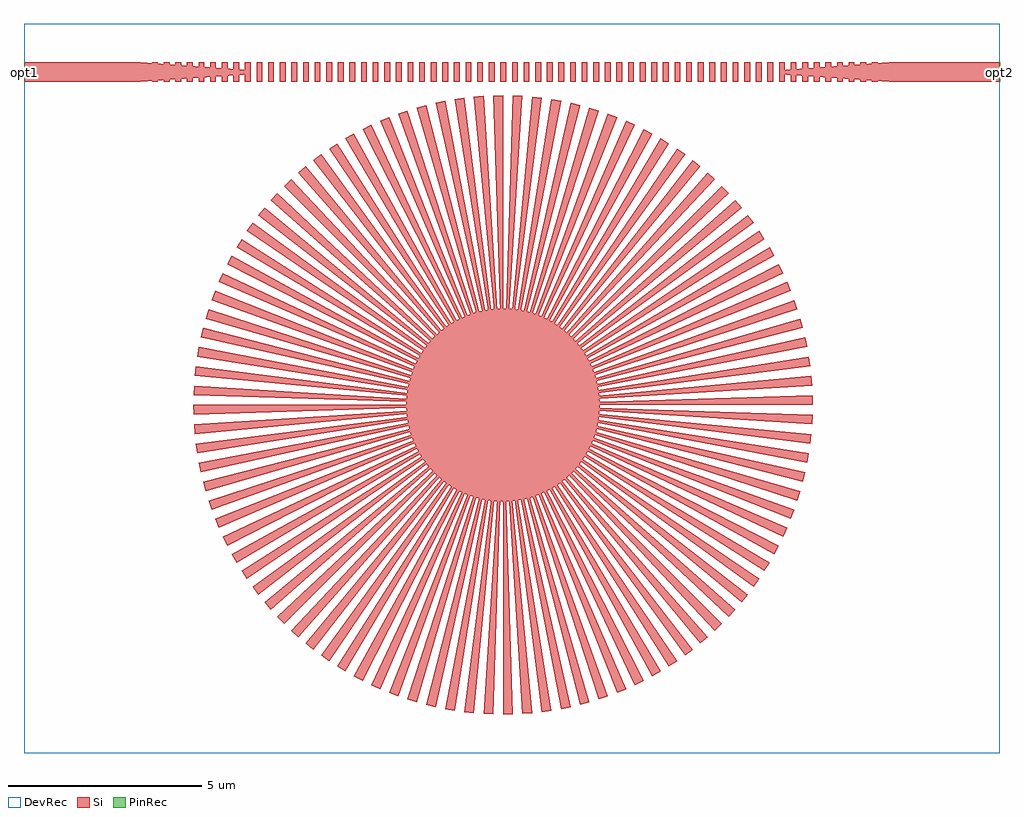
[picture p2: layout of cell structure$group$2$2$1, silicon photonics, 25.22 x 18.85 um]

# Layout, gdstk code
import gdstk
lib = gdstk.Library(unit=1e-6, precision=1e-09)
def R(c, l, rs):  # rectangles x0, y0, x1, y1
    for r in rs: c.add(gdstk.rectangle(r[:2], r[2:], *l))
def A(c, l, x, y, w, h, nx, ny, dx, dy):  # array of equal rectangles
    R(c, l, [(x+i*dx, y+j*dy, x+i*dx+w, y+j*dy+h) for i in range(nx) for j in range(ny)])
def P(c, l, *ps):  # polygons
    for p in ps: c.add(gdstk.Polygon(p, *l))
Si = (1, 0)
PinRec = (1, 10)
DevRec = (68, 0)

swg_ring_1_2_1 = lib.new_cell('swg_ring$1$2$1')
P(swg_ring_1_2_1, Si, [(-0.006,-2.5),(-0.251,-2.487),(-0.493,-2.451),(-0.731,-2.391),(-0.962,-2.308),(-1.183,-2.202),(-1.393,-2.076),(-1.59,-1.929),(-1.771,-1.764),(-1.936,-1.582),(-2.081,-1.385),(-2.207,-1.174),(-2.311,-0.953),(-2.394,-0.722),(-2.453,-0.484),(-2.488,-0.241),(-2.5,0.004),(-2.488,0.249),(-2.451,0.491),(-2.391,0.729),(-2.308,0.96),(-2.203,1.181),(-2.077,1.392),(-1.931,1.588),(-1.766,1.77),(-1.584,1.934),(-1.387,2.08),(-1.176,2.206),(-0.954,2.311),(-0.723,2.393),(-0.486,2.452),(-0.243,2.488),(0.002,2.5),(0.247,2.488),(0.489,2.452),(0.727,2.392),(0.958,2.309),(1.18,2.204),(1.39,2.078),(1.587,1.932),(1.768,1.767),(1.933,1.585),(2.079,1.388),(2.205,1.178),(2.31,0.956),(2.392,0.725),(2.452,0.487),(2.488,0.245),(2.5,0),(2.487,-0.253),(2.45,-0.495),(2.39,-0.733),(2.307,-0.964),(2.201,-1.185),(2.075,-1.395),(1.928,-1.591),(1.763,-1.773),(1.581,-1.937),(1.383,-2.082),(1.173,-2.208),(0.951,-2.312),(0.72,-2.394),(0.482,-2.453),(0.239,-2.489)],
  [(0.124,0.38),(0.112,0.384),(2.232,7.682),(2.472,7.608)],
  [(0.292,0.274),(0.283,0.283),(5.657,5.657),(5.832,5.476)],
  [(0.274,0.292),(0.265,0.3),(5.29,6.001),(5.476,5.832)],
  [(0.372,0.147),(0.367,0.159),(7.342,3.177),(7.438,2.945)],
  [(0.214,0.338),(0.204,0.344),(4.072,6.886),(4.287,6.755)],
  [(0.399,0.025),(0.398,0.038),(7.964,0.753),(7.984,0.502)],
  [(0.338,0.214),(0.331,0.225),(6.617,4.497),(6.755,4.287)],
  [(0.075,0.393),(0.063,0.395),(1.251,7.902),(1.499,7.858)],
  [(0.255,0.308),(0.245,0.316),(4.903,6.321),(5.099,6.164)],
  [(0.387,0.099),(0.384,0.112),(7.682,2.232),(7.749,1.99)],
  [(0.308,0.255),(0.3,0.265),(6.001,5.29),(6.164,5.099)],
  [(0.351,0.193),(0.344,0.204),(6.886,4.072),(7.01,3.854)],
  [(0.025,0.399),(0.013,0.4),(0.251,7.996),(0.502,7.984)],
  [(0.393,0.075),(0.39,0.087),(7.807,1.745),(7.858,1.499)],
  [(0.099,0.387),(0.087,0.39),(1.745,7.807),(1.99,7.749)],
  [(0.397,0.05),(0.395,0.063),(7.902,1.251),(7.937,1.003)],
  [(0.05,0.397),(0.038,0.398),(0.753,7.964),(1.003,7.937)],
  [(0.193,0.351),(0.182,0.356),(3.632,7.128),(3.854,7.01)],
  [(0.38,0.124),(0.376,0.135),(7.527,2.71),(7.608,2.472)],
  [(0.235,0.324),(0.225,0.331),(4.497,6.617),(4.702,6.472)],
  [(0.147,0.372),(0.135,0.376),(2.71,7.527),(2.945,7.438)],
  [(0.4,0),(0.4,0.013),(7.996,0.251),(8,0)],
  [(0.324,0.235),(0.316,0.245),(6.321,4.903),(6.472,4.702)],
  [(0.17,0.362),(0.159,0.367),(3.177,7.342),(3.406,7.239)],
  [(0.362,0.17),(0.356,0.182),(7.128,3.632),(7.239,3.406)],
  [(-0.384,0.112),(-7.682,2.232),(-7.608,2.472),(-0.38,0.124)],
  [(-0.087,0.39),(-1.745,7.807),(-1.499,7.858),(-0.075,0.393)],
  [(-0.376,0.135),(-7.527,2.71),(-7.438,2.945),(-0.372,0.147)],
  [(-0.395,0.063),(-7.902,1.251),(-7.858,1.499),(-0.393,0.075)],
  [(-0.316,0.245),(-6.321,4.903),(-6.164,5.099),(-0.308,0.255)],
  [(-0.225,0.331),(-4.497,6.617),(-4.287,6.755),(-0.214,0.338)],
  [(-0.063,0.395),(-1.251,7.902),(-1.003,7.937),(-0.05,0.397)],
  [(-0.245,0.316),(-4.903,6.321),(-4.702,6.472),(-0.235,0.324)],
  [(-0.4,0.013),(-7.996,0.251),(-7.984,0.502),(-0.399,0.025)],
  [(-0.013,0.4),(-0.251,7.996),(0,8),(0,0.4)],
  [(-0.39,0.087),(-7.807,1.745),(-7.749,1.99),(-0.387,0.099)],
  [(-0.159,0.367),(-3.177,7.342),(-2.945,7.438),(-0.147,0.372)],
  [(-0.038,0.398),(-0.753,7.964),(-0.502,7.984),(-0.025,0.399)],
  [(-0.265,0.3),(-5.29,6.001),(-5.099,6.164),(-0.255,0.308)],
  [(-0.204,0.344),(-4.072,6.886),(-3.854,7.01),(-0.193,0.351)],
  [(-0.283,0.283),(-5.657,5.657),(-5.476,5.832),(-0.274,0.292)],
  [(-0.112,0.384),(-2.232,7.682),(-1.99,7.749),(-0.099,0.387)],
  [(-0.135,0.376),(-2.71,7.527),(-2.472,7.608),(-0.124,0.38)],
  [(-0.344,0.204),(-6.886,4.072),(-6.755,4.287),(-0.338,0.214)],
  [(-0.398,0.038),(-7.964,0.753),(-7.937,1.003),(-0.397,0.05)],
  [(-0.3,0.265),(-6.001,5.29),(-5.832,5.476),(-0.292,0.274)],
  [(-0.331,0.225),(-6.617,4.497),(-6.472,4.702),(-0.324,0.235)],
  [(-0.182,0.356),(-3.632,7.128),(-3.406,7.239),(-0.17,0.362)],
  [(-0.356,0.182),(-7.128,3.632),(-7.01,3.854),(-0.351,0.193)],
  [(-0.367,0.159),(-7.342,3.177),(-7.239,3.406),(-0.362,0.17)],
  [(-6.321,-4.903),(-6.472,-4.702),(-0.324,-0.235),(-0.316,-0.245)],
  [(-4.903,-6.321),(-5.099,-6.164),(-0.255,-0.308),(-0.245,-0.316)],
  [(-3.632,-7.128),(-3.854,-7.01),(-0.193,-0.351),(-0.182,-0.356)],
  [(-5.29,-6.001),(-5.476,-5.832),(-0.274,-0.292),(-0.265,-0.3)],
  [(-6.886,-4.072),(-7.01,-3.854),(-0.351,-0.193),(-0.344,-0.204)],
  [(-4.072,-6.886),(-4.287,-6.755),(-0.214,-0.338),(-0.204,-0.344)],
  [(-7.807,-1.745),(-7.858,-1.499),(-0.393,-0.075),(-0.39,-0.087)],
  [(-4.497,-6.617),(-4.702,-6.472),(-0.235,-0.324),(-0.225,-0.331)],
  [(-7.902,-1.251),(-7.937,-1.003),(-0.397,-0.05),(-0.395,-0.063)],
  [(-7.128,-3.632),(-7.239,-3.406),(-0.362,-0.17),(-0.356,-0.182)],
  [(-6.001,-5.29),(-6.164,-5.099),(-0.308,-0.255),(-0.3,-0.265)],
  [(-2.232,-7.682),(-2.472,-7.608),(-0.124,-0.38),(-0.112,-0.384)],
  [(-7.342,-3.177),(-7.438,-2.945),(-0.372,-0.147),(-0.367,-0.159)],
  [(-7.682,-2.232),(-7.749,-1.99),(-0.387,-0.099),(-0.384,-0.112)],
  [(-2.71,-7.527),(-2.945,-7.438),(-0.147,-0.372),(-0.135,-0.376)],
  [(-7.527,-2.71),(-7.608,-2.472),(-0.38,-0.124),(-0.376,-0.135)],
  [(-1.745,-7.807),(-1.99,-7.749),(-0.099,-0.387),(-0.087,-0.39)],
  [(-3.177,-7.342),(-3.406,-7.239),(-0.17,-0.362),(-0.159,-0.367)],
  [(-1.251,-7.902),(-1.499,-7.858),(-0.075,-0.393),(-0.063,-0.395)],
  [(-0.753,-7.964),(-1.003,-7.937),(-0.05,-0.397),(-0.038,-0.398)],
  [(-5.657,-5.657),(-5.832,-5.476),(-0.292,-0.274),(-0.283,-0.283)],
  [(-7.964,-0.753),(-7.984,-0.502),(-0.399,-0.025),(-0.398,-0.038)],
  [(-6.617,-4.497),(-6.755,-4.287),(-0.338,-0.214),(-0.331,-0.225)],
  [(-7.996,-0.251),(-8,0),(-0.4,0),(-0.4,-0.013)],
  [(-0.251,-7.996),(-0.502,-7.984),(-0.025,-0.399),(-0.013,-0.4)],
  [(7.749,-1.99),(0.387,-0.099),(0.39,-0.087),(7.807,-1.745)],
  [(2.472,-7.608),(0.124,-0.38),(0.135,-0.376),(2.71,-7.527)],
  [(5.832,-5.476),(0.292,-0.274),(0.3,-0.265),(6.001,-5.29)],
  [(6.755,-4.287),(0.338,-0.214),(0.344,-0.204),(6.886,-4.072)],
  [(1.499,-7.858),(0.075,-0.393),(0.087,-0.39),(1.745,-7.807)],
  [(6.472,-4.702),(0.324,-0.235),(0.331,-0.225),(6.617,-4.497)],
  [(7.01,-3.854),(0.351,-0.193),(0.356,-0.182),(7.128,-3.632)],
  [(5.099,-6.164),(0.255,-0.308),(0.265,-0.3),(5.29,-6.001)],
  [(7.438,-2.945),(0.372,-0.147),(0.376,-0.135),(7.527,-2.71)],
  [(1.003,-7.937),(0.05,-0.397),(0.063,-0.395),(1.251,-7.902)],
  [(7.239,-3.406),(0.362,-0.17),(0.367,-0.159),(7.342,-3.177)],
  [(7.608,-2.472),(0.38,-0.124),(0.384,-0.112),(7.682,-2.232)],
  [(7.858,-1.499),(0.393,-0.075),(0.395,-0.063),(7.902,-1.251)],
  [(7.984,-0.502),(0.399,-0.025),(0.4,-0.013),(7.996,-0.251)],
  [(0.502,-7.984),(0.025,-0.399),(0.038,-0.398),(0.753,-7.964)],
  [(6.164,-5.099),(0.308,-0.255),(0.316,-0.245),(6.321,-4.903)],
  [(1.99,-7.749),(0.099,-0.387),(0.112,-0.384),(2.232,-7.682)],
  [(2.945,-7.438),(0.147,-0.372),(0.159,-0.367),(3.177,-7.342)],
  [(3.406,-7.239),(0.17,-0.362),(0.182,-0.356),(3.632,-7.128)],
  [(3.854,-7.01),(0.193,-0.351),(0.204,-0.344),(4.072,-6.886)],
  [(4.287,-6.755),(0.214,-0.338),(0.225,-0.331),(4.497,-6.617)],
  [(7.937,-1.003),(0.397,-0.05),(0.398,-0.038),(7.964,-0.753)],
  [(4.702,-6.472),(0.235,-0.324),(0.245,-0.316),(4.903,-6.321)],
  [(0,-8),(0,-0.4),(0.013,-0.4),(0.251,-7.996)],
  [(5.476,-5.832),(0.274,-0.292),(0.283,-0.283),(5.657,-5.657)])

swg_1_2_1 = lib.new_cell('SWG$1$2$1')
A(swg_1_2_1, Si, 0.3, -0.25, 0.15, 0.5, 63, 1, 0.3, 0)
R(swg_1_2_1, Si, [(-3,-0.25,0,0.25), (19.35,-0.25,22.2,0.25)])
P(swg_1_2_1, Si, [(0,-0.25),(0,0.25),(2.85,0.05),(2.85,-0.05)],
  [(19.35,-0.25),(16.5,-0.05),(16.5,0.05),(19.35,0.25)])

structure_group_2_2_1 = lib.new_cell('structure$group$2$2$1')
R(structure_group_2_2_1, DevRec, [(-12.169,-9,13.031,9.85)])
structure_group_2_2_1.add(gdstk.FlexPath([(-12.159,8.6),(-12.179,8.6)], 0.5, ends="flush", simple_path=True, layer=1, datatype=10))  # PinRec
structure_group_2_2_1.add(gdstk.FlexPath([(13.021,8.6),(13.041,8.6)], 0.5, ends="flush", simple_path=True, layer=1, datatype=10))  # PinRec
structure_group_2_2_1.add(gdstk.Reference(swg_ring_1_2_1, (0.2,0)))
structure_group_2_2_1.add(gdstk.Reference(swg_1_2_1, (-9.169,8.6)))
structure_group_2_2_1.add(gdstk.Label('opt1', (-12.169,8.6), layer=1, texttype=10))
structure_group_2_2_1.add(gdstk.Label('opt2', (13.031,8.6), layer=1, texttype=10))

lib.write_gds('structure_group_2_2_1.gds')
